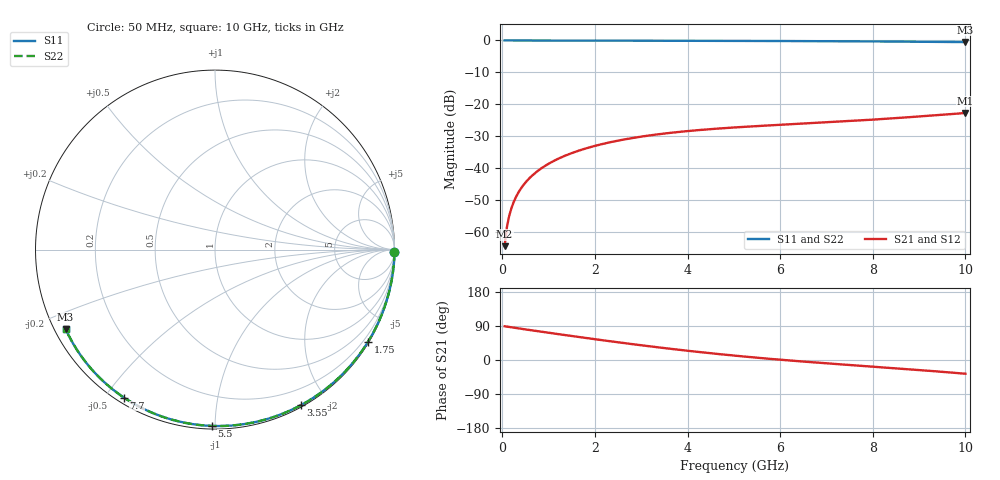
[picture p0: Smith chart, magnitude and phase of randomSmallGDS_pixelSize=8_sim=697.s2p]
! freq	dB(S11)	phase(S11)	dB(S12)	phase(S12)
!  dB(S21)	phase(S21)	dB(S22)	phase(S22)
!S-par simulation data
#  GHz  S  DB  R 50
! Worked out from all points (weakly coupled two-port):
!   200 points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, 50 MHz to 10 GHz, reference 50 ohm
!   highest |S21| = -22.71 dB at 10 GHz (marker M1); lowest = -64.4 dB at 50 MHz (marker M2)
!   lowest |S11| = -0.5 dB at 10 GHz (marker M3), VSWR 33.87, Z = 1.57 - j12.4 ohm
!   |S11| at or under -10 dB: nowhere
!   |S22| runs from -0.5 to 0.0 dB; largest |S21 - S12| = 0
!   S11 on the Smith chart (normalised r, x): 50 MHz: open; 1.75 GHz: 0.03, -3.60; 3.55 GHz: 0.02, -1.69; 5.5 GHz: 0.02, -0.98; 7.7 GHz: 0.02, -0.56; 10 GHz: 0.03, -0.25
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0.05  -0.00 -0.9  -64.40 89.0  -64.40 89.0  -0.00 -0.9
0.1  -0.00 -1.8  -58.38 88.1  -58.38 88.1  -0.00 -1.8
0.15  -0.00 -2.7  -54.87 87.1  -54.87 87.1  -0.00 -2.7
0.2  -0.00 -3.6  -52.37 86.2  -52.37 86.2  -0.00 -3.6
0.25  -0.00 -4.5  -50.44 85.3  -50.44 85.3  -0.00 -4.5
0.35  -0.00 -6.3  -47.54 83.4  -47.54 83.4  -0.00 -6.3
0.5  -0.01 -9.0  -44.48 80.7  -44.48 80.7  -0.01 -9.0
0.7  -0.01 -12.6  -41.61 77.2  -41.61 77.2  -0.01 -12.6
1  -0.02 -17.9  -38.60 71.9  -38.60 71.9  -0.02 -17.9
1.35  -0.03 -24.1  -36.12 65.9  -36.12 65.9  -0.03 -24.1
1.75  -0.04 -31.0  -34.04 59.0  -34.04 59.0  -0.04 -31.0
2.5  -0.06 -43.9  -31.35 46.7  -31.35 46.7  -0.06 -43.9
3.4  -0.08 -58.7  -29.31 32.9  -29.31 32.9  -0.08 -58.7
3.55  -0.09 -61.2  -29.05 30.7  -29.05 30.7  -0.09 -61.1
4.3  -0.11 -73.0  -27.99 20.4  -27.99 20.4  -0.11 -73.0
5.05  -0.13 -84.4  -27.20 11.1  -27.20 11.1  -0.13 -84.4
5.5  -0.15 -91.0  -26.81 6.0  -26.81 6.0  -0.15 -91.0
6.7  -0.21 -108.0  -25.88 -6.0  -25.88 -6.0  -0.21 -108.0
7.7  -0.28 -121.6  -25.06 -14.9  -25.06 -14.9  -0.28 -121.6
8.35  -0.34 -130.3  -24.46 -20.6  -24.46 -20.6  -0.34 -130.3
9.2  -0.42 -141.5  -23.58 -28.4  -23.58 -28.4  -0.42 -141.5
10  -0.51 -152.1  -22.71 -36.2  -22.71 -36.2  -0.51 -152.0
